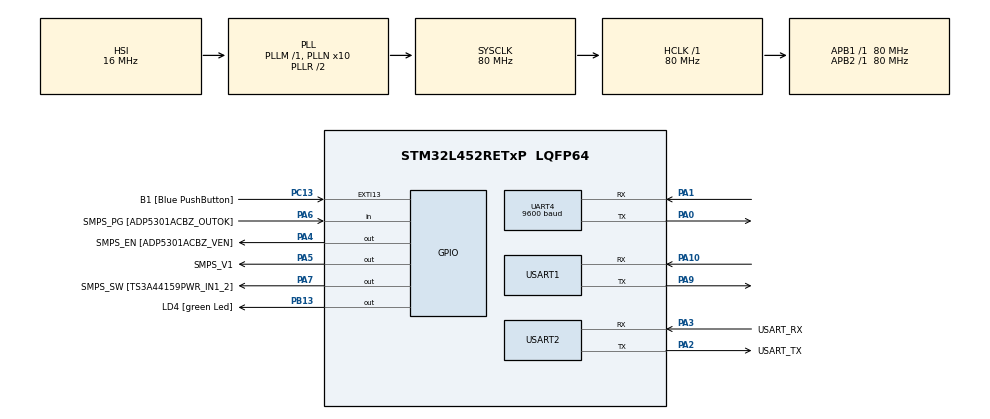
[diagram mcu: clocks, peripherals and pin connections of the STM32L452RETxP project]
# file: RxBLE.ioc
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Mcu.Family=STM32L4
Mcu.Name=STM32L452RETxP
Mcu.Package=LQFP64
NVIC.PriorityGroup=NVIC_PRIORITYGROUP_4
NVIC.UART4_IRQn=true\:0\:0\:false\:false\:true\:true\:true\:true
NVIC.USART1_IRQn=true\:0\:0\:false\:false\:true\:true\:true\:true
NVIC.USART2_IRQn=true\:0\:0\:false\:false\:true\:true\:true\:true
PA0.Mode=Asynchronous
PA0.Signal=UART4_TX
PA1.Mode=Asynchronous
PA1.Signal=UART4_RX
PA10.Mode=Asynchronous
PA10.Signal=USART1_RX
PA13\ (JTMS/SWDIO).GPIO_Label=TMS
PA13\ (JTMS/SWDIO).Mode=Serial_Wire
PA13\ (JTMS/SWDIO).Signal=SYS_JTMS-SWDIO
PA14\ (JTCK/SWCLK).GPIO_Label=TCK
PA14\ (JTCK/SWCLK).Mode=Serial_Wire
PA14\ (JTCK/SWCLK).Signal=SYS_JTCK-SWCLK
PA2.GPIO_Label=USART_TX
PA2.GPIO_Mode=GPIO_MODE_AF_PP
PA2.GPIO_PuPd=GPIO_NOPULL
PA2.GPIO_Speed=GPIO_SPEED_FREQ_VERY_HIGH
PA2.Mode=Asynchronous
PA2.Signal=USART2_TX
PA3.GPIO_Label=USART_RX
PA3.GPIO_Mode=GPIO_MODE_AF_PP
PA3.GPIO_PuPd=GPIO_NOPULL
PA3.GPIO_Speed=GPIO_SPEED_FREQ_VERY_HIGH
PA3.Mode=Asynchronous
PA3.Signal=USART2_RX
PA4.GPIO_Label=SMPS_EN [ADP5301ACBZ_VEN]
PA4.Signal=GPIO_Output
PA5.GPIO_Label=SMPS_V1
PA5.GPIO_ModeDefaultOutputPP=GPIO_MODE_OUTPUT_PP
PA5.GPIO_PuPd=GPIO_NOPULL
PA5.GPIO_Speed=GPIO_SPEED_FREQ_LOW
PA5.Signal=GPIO_Output
PA6.GPIO_Label=SMPS_PG [ADP5301ACBZ_OUTOK]
PA6.GPIO_PuPd=GPIO_PULLUP
PA6.Signal=GPIO_Input
PA7.GPIO_Label=SMPS_SW [TS3A44159PWR_IN1_2]
PA7.Signal=GPIO_Output
PA9.Mode=Asynchronous
PA9.Signal=USART1_TX
PB13.GPIO_Label=LD4 [green Led]
PB13.Signal=GPIO_Output
PB3\ (JTDO/TRACESWO).GPIO_Label=SWO
PB3\ (JTDO/TRACESWO).Signal=SYS_JTDO-SWO
PC13.GPIO_Label=B1 [Blue PushButton]
PC13.GPIO_ModeDefaultEXTI=GPIO_MODE_IT_FALLING
PC13.GPIO_PuPd=GPIO_NOPULL
PC13.Signal=GPXTI13
PC14-OSC32_IN\ (PC14).Mode=LSE-External-Oscillator
PC14-OSC32_IN\ (PC14).Signal=RCC_OSC32_IN
PC15-OSC32_OUT\ (PC15).Mode=LSE-External-Oscillator
PC15-OSC32_OUT\ (PC15).Signal=RCC_OSC32_OUT
PH0-OSC_IN\ (PH0).GPIO_Label=MCO
PH0-OSC_IN\ (PH0).Mode=HSE-External-Clock-Source
PH0-OSC_IN\ (PH0).Signal=RCC_OSC_IN
PH1-OSC_OUT\ (PH1).Signal=RCC_OSC_OUT
ProjectManager.HeapSize=0x200
ProjectManager.StackSize=0x400
ProjectManager.TargetToolchain=STM32CubeIDE
RCC.ADCFreq_Value=64000000
RCC.AHBFreq_Value=80000000
RCC.APB1Freq_Value=80000000
RCC.APB1TimFreq_Value=80000000
RCC.APB2Freq_Value=80000000
RCC.APB2TimFreq_Value=80000000
RCC.CortexFreq_Value=80000000
RCC.HCLKFreq_Value=80000000
RCC.HSE_VALUE=8000000
RCC.HSI48_VALUE=48000000
RCC.HSI_VALUE=16000000
RCC.MSI_VALUE=4000000
RCC.PLLN=10
RCC.PLLSourceVirtual=RCC_PLLSOURCE_HSI
RCC.PREFETCH_ENABLE=1
RCC.SYSCLKFreq_VALUE=80000000
RCC.SYSCLKSource=RCC_SYSCLKSOURCE_PLLCLK
RCC.USBFreq_Value=64000000
RCC.VCOOutputFreq_Value=160000000
UART4.BaudRate=9600
USART1.VirtualMode-Asynchronous=VM_ASYNC
USART2.VirtualMode-Asynchronous=VM_ASYNC
board=NUCLEO-L452RE-P

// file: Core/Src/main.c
/* USER CODE BEGIN Header */
/**
  ******************************************************************************
  * @file           : main.c
  * @brief          : Main program body
  ******************************************************************************
  * @attention
  *
  * Copyright (c) 2023 STMicroelectronics.
  * All rights reserved.
  *
  * This software is licensed under terms that can be found in the LICENSE file
  * in the root directory of this software component.
  * If no LICENSE file comes with this software, it is provided AS-IS.
  *
  ******************************************************************************
  */
/* USER CODE END Header */
#include "main.h"

/* USER CODE BEGIN Includes */
#include <stdio.h>
#include <string.h>
#include "stm32l4xx_hal.h"
#include "crc32.h"
#define CBC 1
#include "aes.h"
/* USER CODE END Includes */

/* USER CODE BEGIN PM */
#define MAJOR 0		// BL Major version Number
#define MINOR 1		// BL Minor version Number
#define FW_SIZE 470
#define FLASH_CONF_ADDRESS 0x08020000
#define FLASH_APP_ADDRESS1 0x08030000
#define FLASH_APP_ADDRESS2 0x08058000
/* USER CODE END PM */

UART_HandleTypeDef huart4;
UART_HandleTypeDef huart1;
UART_HandleTypeDef huart2;

/* USER CODE BEGIN PV */
const uint8_t BL_Version[2] = { MAJOR, MINOR };
uint8_t key[] = { 0x2b, 0x7e, 0x15, 0x16, 0x28, 0xae, 0xd2, 0xa6, 0xab, 0xf7, 0x15, 0x88, 0x09, 0xcf, 0x4f, 0x3c };
uint8_t iv[]  = { 0x00, 0x01, 0x02, 0x03, 0x04, 0x05, 0x06, 0x07, 0x08, 0x09, 0x0a, 0x0b, 0x0c, 0x0d, 0x0e, 0x0f };
struct AES_ctx ctx;
uint8_t rx_Slavebuff[71];
uint8_t buffTrigger = 1;
uint8_t configuration[8];
uint8_t application[8];
uint16_t PacketCounter=0;
uint8_t buffCounter4 = 0;
uint8_t rx_Tbuff[20];
uint8_t x_buff4[20];
uint8_t ack_pack[2] = "AK";
static uint8_t ackFlag = 0;
static uint8_t OTA_conf[8];

/* USER CODE END PV */

void SystemClock_Config(void);
static void MX_GPIO_Init(void);
static void MX_USART2_UART_Init(void);
static void MX_UART4_Init(void);
static void MX_USART1_UART_Init(void);
/* USER CODE BEGIN PFP */
static HAL_StatusTypeDef write_cfg_to_flash(uint8_t *ulldata, uint32_t data_len );
static HAL_StatusTypeDef write_data_to_flash(uint8_t *ulldata, uint32_t data_len );
static void goto_application(void);
/* USER CODE END PFP */

int main(void)
{

  /* MCU Configuration--------------------------------------------------------*/

  /* Reset of all peripherals, Initializes the Flash interface and the Systick. */
  HAL_Init();

  /* Configure the system clock */
  SystemClock_Config();

  /* Initialize all configured peripherals */
  MX_GPIO_Init();
  MX_USART2_UART_Init();
  MX_UART4_Init();
  MX_USART1_UART_Init();
  /* USER CODE BEGIN 2 */

  uint8_t * conf = (uint8_t *) FLASH_CONF_ADDRESS;
  memcpy(configuration, conf, 8);

  uint8_t * app = (uint8_t *) FLASH_APP_ADDRESS1;
  if (configuration[3] == 0x01){
	  app = (uint8_t *) FLASH_APP_ADDRESS1; //0x08030000;
  }
  else if (configuration[3] == 0x02){
	  app = (uint8_t *) FLASH_APP_ADDRESS2;	//0x08058000
  }

  memcpy(application, app, 8);

  if (configuration[0]== 0xaa){
	  HAL_UART_Transmit(&huart4, ack_pack, sizeof(ack_pack), 100);
	  ackFlag = 1;
	  configuration[0] = 0xee;
	  write_cfg_to_flash(configuration, sizeof(configuration));
  }
  if (configuration[0]== 0xff || configuration[0]== 0xbb){
	  buffTrigger = 1;
  }
  else{
	  buffTrigger = 71;
  }
  HAL_UART_Receive_IT(&huart4, rx_Slavebuff, buffTrigger);
  HAL_UART_Receive_IT(&huart2, rx_Tbuff, 1);

  printf("Starting RxBootLoader(%d.%d)\r\n", BL_Version[0], BL_Version[1] );
  printf("%d %x %x %x %x", ackFlag, configuration[0], configuration[1], configuration[2], configuration[3]);

  if (configuration[0] == 0xbb){
	  goto_application();
  }
  else if (configuration[3] == 0x02 && ackFlag == 0 && configuration[1] == 0xDD){
	  configuration[3] = 0x01;
	  goto_application();
  }
  else if (configuration[3] == 0x01 && ackFlag == 0 && configuration[2] == 0xDD){
	  configuration[3] = 0x02;
	  goto_application();
  }
  /* USER CODE END 2 */

  /* Infinite loop */
  while (1)
  {

  }
}

void SystemClock_Config(void)
{
  RCC_OscInitTypeDef RCC_OscInitStruct = {0};
  RCC_ClkInitTypeDef RCC_ClkInitStruct = {0};

  /** Configure the main internal regulator output voltage
  */
  if (HAL_PWREx_ControlVoltageScaling(PWR_REGULATOR_VOLTAGE_SCALE1) != HAL_OK)
  {
    Error_Handler();
  }

  /** Initializes the RCC Oscillators according to the specified parameters
  * in the RCC_OscInitTypeDef structure.
  */
  RCC_OscInitStruct.OscillatorType = RCC_OSCILLATORTYPE_HSI;
  RCC_OscInitStruct.HSIState = RCC_HSI_ON;
  RCC_OscInitStruct.HSICalibrationValue = RCC_HSICALIBRATION_DEFAULT;
  RCC_OscInitStruct.PLL.PLLState = RCC_PLL_ON;
  RCC_OscInitStruct.PLL.PLLSource = RCC_PLLSOURCE_HSI;
  RCC_OscInitStruct.PLL.PLLM = 1;
  RCC_OscInitStruct.PLL.PLLN = 10;
  RCC_OscInitStruct.PLL.PLLP = RCC_PLLP_DIV7;
  RCC_OscInitStruct.PLL.PLLQ = RCC_PLLQ_DIV2;
  RCC_OscInitStruct.PLL.PLLR = RCC_PLLR_DIV2;
  if (HAL_RCC_OscConfig(&RCC_OscInitStruct) != HAL_OK)
  {
    Error_Handler();
  }

  /** Initializes the CPU, AHB and APB buses clocks
  */
  RCC_ClkInitStruct.ClockType = RCC_CLOCKTYPE_HCLK|RCC_CLOCKTYPE_SYSCLK
                              |RCC_CLOCKTYPE_PCLK1|RCC_CLOCKTYPE_PCLK2;
  RCC_ClkInitStruct.SYSCLKSource = RCC_SYSCLKSOURCE_PLLCLK;
  RCC_ClkInitStruct.AHBCLKDivider = RCC_SYSCLK_DIV1;
  RCC_ClkInitStruct.APB1CLKDivider = RCC_HCLK_DIV1;
  RCC_ClkInitStruct.APB2CLKDivider = RCC_HCLK_DIV1;

  if (HAL_RCC_ClockConfig(&RCC_ClkInitStruct, FLASH_LATENCY_4) != HAL_OK)
  {
    Error_Handler();
  }
}

static void MX_UART4_Init(void)
{

  huart4.Instance = UART4;
  huart4.Init.BaudRate = 9600;
  huart4.Init.WordLength = UART_WORDLENGTH_8B;
  huart4.Init.StopBits = UART_STOPBITS_1;
  huart4.Init.Parity = UART_PARITY_NONE;
  huart4.Init.Mode = UART_MODE_TX_RX;
  huart4.Init.HwFlowCtl = UART_HWCONTROL_NONE;
  huart4.Init.OverSampling = UART_OVERSAMPLING_16;
  huart4.Init.OneBitSampling = UART_ONE_BIT_SAMPLE_DISABLE;
  huart4.AdvancedInit.AdvFeatureInit = UART_ADVFEATURE_NO_INIT;
  if (HAL_UART_Init(&huart4) != HAL_OK)
  {
    Error_Handler();
  }

}

static void MX_USART1_UART_Init(void)
{

  huart1.Instance = USART1;
  huart1.Init.BaudRate = 115200;
  huart1.Init.WordLength = UART_WORDLENGTH_8B;
  huart1.Init.StopBits = UART_STOPBITS_1;
  huart1.Init.Parity = UART_PARITY_NONE;
  huart1.Init.Mode = UART_MODE_TX_RX;
  huart1.Init.HwFlowCtl = UART_HWCONTROL_NONE;
  huart1.Init.OverSampling = UART_OVERSAMPLING_16;
  huart1.Init.OneBitSampling = UART_ONE_BIT_SAMPLE_DISABLE;
  huart1.AdvancedInit.AdvFeatureInit = UART_ADVFEATURE_NO_INIT;
  if (HAL_UART_Init(&huart1) != HAL_OK)
  {
    Error_Handler();
  }

}

static void MX_USART2_UART_Init(void)
{

  huart2.Instance = USART2;
  huart2.Init.BaudRate = 115200;
  huart2.Init.WordLength = UART_WORDLENGTH_8B;
  huart2.Init.StopBits = UART_STOPBITS_1;
  huart2.Init.Parity = UART_PARITY_NONE;
  huart2.Init.Mode = UART_MODE_TX_RX;
  huart2.Init.HwFlowCtl = UART_HWCONTROL_NONE;
  huart2.Init.OverSampling = UART_OVERSAMPLING_16;
  huart2.Init.OneBitSampling = UART_ONE_BIT_SAMPLE_DISABLE;
  huart2.AdvancedInit.AdvFeatureInit = UART_ADVFEATURE_NO_INIT;
  if (HAL_UART_Init(&huart2) != HAL_OK)
  {
    Error_Handler();
  }

}

static void MX_GPIO_Init(void)
{
  GPIO_InitTypeDef GPIO_InitStruct = {0};

  /* GPIO Ports Clock Enable */
  __HAL_RCC_GPIOC_CLK_ENABLE();
  __HAL_RCC_GPIOH_CLK_ENABLE();
  __HAL_RCC_GPIOA_CLK_ENABLE();
  __HAL_RCC_GPIOB_CLK_ENABLE();

  /*Configure GPIO pin Output Level */
  HAL_GPIO_WritePin(GPIOA, SMPS_EN_Pin|SMPS_V1_Pin|SMPS_SW_Pin, GPIO_PIN_RESET);

  /*Configure GPIO pin Output Level */
  HAL_GPIO_WritePin(LD4_GPIO_Port, LD4_Pin, GPIO_PIN_RESET);

  /*Configure GPIO pin : B1_Pin */
  GPIO_InitStruct.Pin = B1_Pin;
  GPIO_InitStruct.Mode = GPIO_MODE_IT_FALLING;
  GPIO_InitStruct.Pull = GPIO_NOPULL;
  HAL_GPIO_Init(B1_GPIO_Port, &GPIO_InitStruct);

  /*Configure GPIO pins : SMPS_EN_Pin SMPS_V1_Pin SMPS_SW_Pin */
  GPIO_InitStruct.Pin = SMPS_EN_Pin|SMPS_V1_Pin|SMPS_SW_Pin;
  GPIO_InitStruct.Mode = GPIO_MODE_OUTPUT_PP;
  GPIO_InitStruct.Pull = GPIO_NOPULL;
  GPIO_InitStruct.Speed = GPIO_SPEED_FREQ_LOW;
  HAL_GPIO_Init(GPIOA, &GPIO_InitStruct);

  /*Configure GPIO pin : SMPS_PG_Pin */
  GPIO_InitStruct.Pin = SMPS_PG_Pin;
  GPIO_InitStruct.Mode = GPIO_MODE_INPUT;
  GPIO_InitStruct.Pull = GPIO_PULLUP;
  HAL_GPIO_Init(SMPS_PG_GPIO_Port, &GPIO_InitStruct);

  /*Configure GPIO pin : LD4_Pin */
  GPIO_InitStruct.Pin = LD4_Pin;
  GPIO_InitStruct.Mode = GPIO_MODE_OUTPUT_PP;
  GPIO_InitStruct.Pull = GPIO_NOPULL;
  GPIO_InitStruct.Speed = GPIO_SPEED_FREQ_LOW;
  HAL_GPIO_Init(LD4_GPIO_Port, &GPIO_InitStruct);

}

/* USER CODE BEGIN 4 */
void HAL_UART_RxCpltCallback(UART_HandleTypeDef *huart)
{
	if (huart == &huart2){
		HAL_UART_Transmit(&huart2, rx_Tbuff, 1, 10);
		HAL_UART_Receive_IT(&huart2, rx_Tbuff, 1);

		if (rx_Tbuff[0]=='#'){
			printf("\n\r");
			goto_application();
		}
	}
	else if (huart == &huart4){
		uint8_t * conf = (uint8_t *) FLASH_CONF_ADDRESS;
		memcpy(OTA_conf, conf, 8);
		OTA_conf[0] = 0xBB;

		x_buff4[buffCounter4] = rx_Slavebuff[0];

		if (rx_Slavebuff[0] == '!' && buffTrigger == 1){
			printf("OTA REQUEST RECIEVED \r\n");
			HAL_UART_Transmit(&huart4, ack_pack, sizeof(ack_pack), 100);
			buffCounter4 = 0;
			buffTrigger = 71;
		}
		else if (rx_Slavebuff[0] == 'K' && x_buff4[buffCounter4-1] == 'O'){
			HAL_UART_Transmit(&huart2, x_buff4, sizeof(x_buff4), 100);
		}
		else if (buffTrigger == 71){
//			AES_ECB_decrypt(rx_Slavebuff, key, decryptOTAData, 64);
			static uint8_t pkt_ack[2] = "@@";
			if (PacketCounter == 0){
				start(0);
			}
			printf("Packet Number Received %d \n\r", PacketCounter++);
			update(rx_Slavebuff, 64);
			AES_init_ctx_iv(&ctx, key, iv);
			AES_CBC_decrypt_buffer(&ctx, rx_Slavebuff, 64);
			write_data_to_flash(rx_Slavebuff, 64);
			HAL_UART_Transmit(&huart4, pkt_ack, 1, 100);
			printf("ACK Sent \r\n");
			if (rx_Slavebuff[66] == 0xf2){
				uint32_t cal_crc = finish();
				printf("CRC RxVALUE %lu \r\n", cal_crc);
				if (memcmp(&rx_Slavebuff[67], &cal_crc, 4) == 0){
					printf("CRC MATCHED \r\n");
				}else{
					printf("CRC MATCH FAILED \r\n");
					pkt_ack[0] = '$';
					pkt_ack[1] = '$';
				}
				printf("Configuration Update: ");
				if (configuration[3] == 0xFF || configuration[3] == 0x01){
					OTA_conf[3] = 0x01;
					OTA_conf[1] = 0xDD;
					printf("Case 1 \r\n");
				}
				else if (configuration[3] == 0x02){
					OTA_conf[3] = 0x02;
					OTA_conf[2] = 0xDD;
					printf("Case 2 \r\n");
				}
				printf("OTA COMPLETED\r\n");
				ackFlag = 0;
				write_cfg_to_flash(OTA_conf, sizeof(OTA_conf));
//				buffTrigger = 1;
				HAL_NVIC_SystemReset();
			}
		}
		HAL_UART_Receive_IT(&huart4, rx_Slavebuff, buffTrigger);
	}

}

static HAL_StatusTypeDef write_data_to_flash(uint8_t *ulldata, uint32_t data_len )
{
  HAL_StatusTypeDef ret;
  static uint32_t address = FLASH_APP_ADDRESS1;	//0x08030000;
  static uint8_t flashFlag = 0;
  static uint32_t pageAdress;

  if ((configuration[1] == 0xFF || configuration[3] == 0x01) && flashFlag == 0){
	  address = FLASH_APP_ADDRESS1; //0x08030000;
	  flashFlag = 1;
	  pageAdress = 96; // 1 Page = 2K, So 96 = (0x3 0000)
	  printf("Writing data in Slot 1\r\n");
  }
  else if ((configuration[2] == 0xFF || configuration[3] == 0x02) && flashFlag == 0){
	  address = FLASH_APP_ADDRESS2;	//0x08058000
	  flashFlag = 1;
	  pageAdress = 176; // 1 Page = 2K, So 176 = (0x5 8000)
	  printf("Writing data in Slot 2\r\n");
  }

  static uint8_t eraseFlag = 0;

  do
  {
    ret = HAL_FLASH_Unlock();
    if( ret != HAL_OK )
    {
      break;
    }

    //Check if the FLASH_FLAG_BSY.
    FLASH_WaitForLastOperation(HAL_MAX_DELAY);

    if (application[0] != 0xff && eraseFlag ==0){
    	printf("Erasing the App Flash memory...\r\n");
		//Erase the Flash
		FLASH_EraseInitTypeDef EraseInitStruct;
		uint32_t SectorError;

		EraseInitStruct.TypeErase   = FLASH_TYPEERASE_PAGES;
		EraseInitStruct.Banks       = FLASH_BANK_1;
		EraseInitStruct.Page        = pageAdress;
		EraseInitStruct.NbPages     = 75;

		ret = HAL_FLASHEx_Erase( &EraseInitStruct, &SectorError );
		if( ret != HAL_OK )
		{
		  printf("Flash erase Error\r\n");
		  break;
		}
		printf("Erased the App Flash memory...\r\n");
		eraseFlag = 1;

    }

    for(uint32_t i = 0; i < data_len; i+=8)
    {
      ret = HAL_FLASH_Program( FLASH_TYPEPROGRAM_DOUBLEWORD,
                               (address),
							   *(uint64_t*)&ulldata[i]);

      address += 8;

      if( ret != HAL_OK )
      {
        printf("App Flash Write Error\r\n");
        break;
      }
    }

    if( ret != HAL_OK )
    {
      break;
    }

    ret = HAL_FLASH_Lock();
    if( ret != HAL_OK )
    {
      break;
    }

    //Check if the FLASH_FLAG_BSY.
    FLASH_WaitForLastOperation(HAL_MAX_DELAY);

  }while(0);

  return ret;
}

static void goto_application(void)
{
	static uint32_t App_address = FLASH_APP_ADDRESS1;//0x08030000;
	if (configuration[1] == 0xDD && configuration[3] == 0x01){
		App_address = FLASH_APP_ADDRESS1;//0x08030000;
//		write_cfg_to_flash(configuration, sizeof(configuration));
		printf("Jumping to Application in Slot1\r\n");
	}
	else if (configuration[2] == 0xDD && configuration[3] == 0x02){
		App_address = FLASH_APP_ADDRESS2;	//0x08058000;
//		write_cfg_to_flash(configuration, sizeof(configuration));
		printf("Jumping to Application in Slot2\r\n");
	}

  void (*app_reset_handler)(void) = (void*)(*((volatile uint32_t*) (App_address + 4)));
  //__set_MSP(*(volatile uint32_t*) 0x08030000);
  // Turn OFF the Green Led to tell the user that Bootloader is not running
  HAL_GPIO_WritePin(LD4_GPIO_Port, LD4_Pin, GPIO_PIN_RESET );    //Green LED OFF
  app_reset_handler();    //call the app reset handler
}

static HAL_StatusTypeDef write_cfg_to_flash(uint8_t *ulldata, uint32_t data_len )
{
  HAL_StatusTypeDef ret;
  static uint32_t address = FLASH_CONF_ADDRESS;//0x08020000;

  do
  {
    ret = HAL_FLASH_Unlock();
    if( ret != HAL_OK )
    {
      break;
    }

    //Check if the FLASH_FLAG_BSY.
    FLASH_WaitForLastOperation(HAL_MAX_DELAY);

    // clear all flags before you write it to flash
//    __HAL_FLASH_CLEAR_FLAG(FLASH_FLAG_EOP | FLASH_FLAG_OPERR |
//                FLASH_FLAG_WRPERR | FLASH_FLAG_PGAERR | FLASH_FLAG_PGPERR);

    if ( configuration[0] != 0xff){
    	printf("Erasing the Config Flash memory...\r\n");
		//Erase the Flash
		FLASH_EraseInitTypeDef EraseInitStruct;
		uint32_t SectorError;

		EraseInitStruct.TypeErase     = FLASH_TYPEERASE_PAGES;
		EraseInitStruct.Banks     = FLASH_BANK_1;
		EraseInitStruct.Page        = 64; // 1 page = 2K
		EraseInitStruct.NbPages     = 2;                    //erase 2 sectors(5,6)
	//    EraseInitStruct.VoltageRange  = FLASH_VOLTAGE_RANGE_3;

		ret = HAL_FLASHEx_Erase( &EraseInitStruct, &SectorError );
		if( ret != HAL_OK )
		{
		  printf("Flash erase Error\r\n");
		  break;
		}
    }

    for(uint32_t i = 0; i < data_len; i+=8)
    {
      ret = HAL_FLASH_Program( FLASH_TYPEPROGRAM_DOUBLEWORD,
                               (address),
							   *(uint64_t*)&ulldata[i]);

      if( ret != HAL_OK )
      {
        printf("App Flash Write Error\r\n");
        break;
      }
    }

    if( ret != HAL_OK )
    {
      break;
    }

    ret = HAL_FLASH_Lock();
    if( ret != HAL_OK )
    {
      break;
    }

    //Check if the FLASH_FLAG_BSY.
    FLASH_WaitForLastOperation(HAL_MAX_DELAY);

  }while(0);

  return ret;
}

#ifdef __GNUC__
  /* With GCC, small printf (option LD Linker->Libraries->Small printf
     set to 'Yes') calls __io_putchar() */
int __io_putchar(int ch)
#else
int fputc(int ch, FILE *f)
#endif /* __GNUC__ */
{
  /* Place your implementation of fputc here */
  /* e.g. write a character to the UART3 and Loop until the end of transmission */
  HAL_UART_Transmit(&huart2, (uint8_t *)&ch, 1, HAL_MAX_DELAY);
  return ch;
}
/* USER CODE END 4 */

void Error_Handler(void)
{
  __disable_irq();
  while (1)
  {
  }
}
